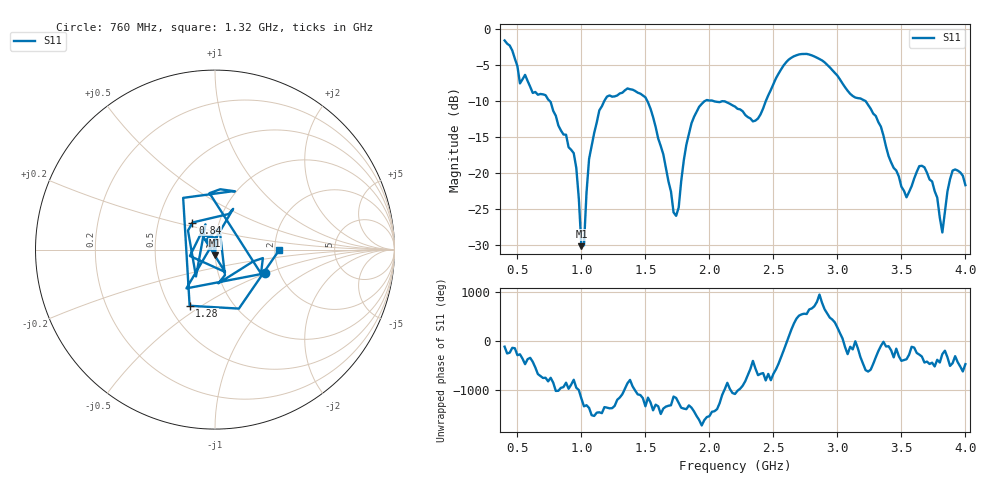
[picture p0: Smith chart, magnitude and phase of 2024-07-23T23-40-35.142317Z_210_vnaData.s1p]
!Created with skrf (http://scikit-rf.org).
# Hz S RI R 50.0
!freq ReS11 ImS11
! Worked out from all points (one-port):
!   181 points, 400 MHz to 4 GHz, reference 50 ohm
!   lowest |S11| = -30.2 dB at 1 GHz (marker M1), VSWR 1.06, Z = 49.9 - j3.09 ohm
!   |S11| at or under -10 dB: 749 MHz to 1.18 GHz (431.2 MHz wide, 44.7 % of centre); 1.513 GHz to 1.971 GHz (457.5 MHz wide, 26.3 % of centre); 3.214 GHz to end of sweep (the widest 3 of 4)
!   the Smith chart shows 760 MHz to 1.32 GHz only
!   S11 on the Smith chart (normalised r, x): 760 MHz: 1.69, -0.49; 840 MHz: 0.75, +0.23; 1.28 GHz: 0.63, -0.45; 1.32 GHz: 2.12, -0.01
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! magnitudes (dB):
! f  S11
! 400 MHz  -1.7
! 520 MHz  -7.6
! 760 MHz  -10.2
! 840 MHz  -14.1
! 860 MHz  -14.7
! 960 MHz  -19.3
! 1 GHz  -30.2
! 1.02 GHz  -30.1
! 1.06 GHz  -18.1
! 1.14 GHz  -11.3
! 1.28 GHz  -9.3
! 1.3 GHz  -9.0
! 1.32 GHz  -8.9
! 1.52 GHz  -10.2
! 1.72 GHz  -25.5
! 1.76 GHz  -24.8
! 1.82 GHz  -16.1
! 1.92 GHz  -10.9
! 2.2 GHz  -10.8
! 2.38 GHz  -12.5
! 2.66 GHz  -3.9
! 3.1 GHz  -9.1
! 3.3 GHz  -12.1
! 3.56 GHz  -22.7
! 3.68 GHz  -19.3
! 3.82 GHz  -28.3
! 3.9 GHz  -19.7
! 4 GHz  -21.7
